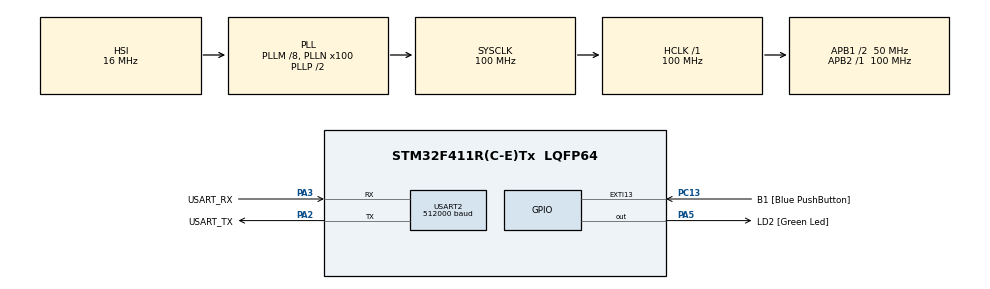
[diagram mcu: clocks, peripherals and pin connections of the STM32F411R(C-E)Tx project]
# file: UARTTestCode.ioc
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Dma.Request0=USART2_RX
Dma.USART2_RX.0.Direction=DMA_PERIPH_TO_MEMORY
Dma.USART2_RX.0.FIFOMode=DMA_FIFOMODE_DISABLE
Dma.USART2_RX.0.Instance=DMA1_Stream5
Dma.USART2_RX.0.MemDataAlignment=DMA_MDATAALIGN_BYTE
Dma.USART2_RX.0.MemInc=DMA_MINC_ENABLE
Dma.USART2_RX.0.Mode=DMA_CIRCULAR
Dma.USART2_RX.0.PeriphDataAlignment=DMA_PDATAALIGN_BYTE
Dma.USART2_RX.0.PeriphInc=DMA_PINC_DISABLE
Dma.USART2_RX.0.Priority=DMA_PRIORITY_LOW
Mcu.Family=STM32F4
Mcu.Name=STM32F411R(C-E)Tx
Mcu.Package=LQFP64
NVIC.DMA1_Stream5_IRQn=true\:0\:0\:false\:false\:true\:false\:true\:true
NVIC.PriorityGroup=NVIC_PRIORITYGROUP_0
NVIC.TIM1_TRG_COM_TIM11_IRQn=true\:0\:0\:false\:false\:true\:true\:true\:true
NVIC.USART2_IRQn=true\:0\:0\:false\:false\:true\:true\:true\:true
PA13.GPIO_Label=TMS
PA13.Mode=Serial_Wire
PA13.Signal=SYS_JTMS-SWDIO
PA14.GPIO_Label=TCK
PA14.Mode=Serial_Wire
PA14.Signal=SYS_JTCK-SWCLK
PA2.GPIO_Label=USART_TX
PA2.Mode=Asynchronous
PA2.Signal=USART2_TX
PA3.GPIO_Label=USART_RX
PA3.Mode=Asynchronous
PA3.Signal=USART2_RX
PA5.GPIO_Label=LD2 [Green Led]
PA5.Signal=GPIO_Output
PB3.GPIO_Label=SWO
PB3.Signal=SYS_JTDO-SWO
PC13-ANTI_TAMP.GPIO_Label=B1 [Blue PushButton]
PC13-ANTI_TAMP.GPIO_ModeDefaultEXTI=GPIO_MODE_IT_FALLING
PC13-ANTI_TAMP.Signal=GPXTI13
PC14-OSC32_IN.Mode=LSE-External-Oscillator
PC14-OSC32_IN.Signal=RCC_OSC32_IN
PC15-OSC32_OUT.Mode=LSE-External-Oscillator
PC15-OSC32_OUT.Signal=RCC_OSC32_OUT
PH0\ -\ OSC_IN.Mode=HSE-External-Clock-Source
PH0\ -\ OSC_IN.Signal=RCC_OSC_IN
PH1\ -\ OSC_OUT.Mode=HSE-External-Clock-Source
PH1\ -\ OSC_OUT.Signal=RCC_OSC_OUT
ProjectManager.HeapSize=0x200
ProjectManager.StackSize=0x400
ProjectManager.TargetToolchain=STM32CubeIDE
RCC.48MHZClocksFreq_Value=50000000
RCC.AHBFreq_Value=100000000
RCC.APB1CLKDivider=RCC_HCLK_DIV2
RCC.APB1Freq_Value=50000000
RCC.APB1TimFreq_Value=100000000
RCC.APB2Freq_Value=100000000
RCC.APB2TimFreq_Value=100000000
RCC.CortexFreq_Value=100000000
RCC.FLatency-AdvancedSettings=FLASH_LATENCY_3
RCC.HCLKFreq_Value=100000000
RCC.HSE_VALUE=8000000
RCC.HSI_VALUE=16000000
RCC.PLLM=8
RCC.PLLN=100
RCC.SYSCLKFreq_VALUE=100000000
RCC.SYSCLKSource=RCC_SYSCLKSOURCE_PLLCLK
RCC.VCOOutputFreq_Value=200000000
TIM11.Prescaler=99
USART2.BaudRate=512000
USART2.Parity=PARITY_EVEN
USART2.VirtualMode=VM_ASYNC
USART2.WordLength=WORDLENGTH_9B
VP_TIM11_VS_ClockSourceINT.Mode=Enable_Timer
board=NUCLEO-F411RE

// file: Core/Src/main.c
/* USER CODE BEGIN Header */
/**
  ******************************************************************************
  * @file           : main.c
  * @brief          : Main program body
  ******************************************************************************
  * @attention
  *
  * Copyright (c) 2022 STMicroelectronics.
  * All rights reserved.
  *
  * This software is licensed under terms that can be found in the LICENSE file
  * in the root directory of this software component.
  * If no LICENSE file comes with this software, it is provided AS-IS.
  *
  ******************************************************************************
  */
/* USER CODE END Header */
#include "main.h"

/* USER CODE BEGIN Includes */
#include <stdio.h>
#include <string.h>
/* USER CODE END Includes */

 TIM_HandleTypeDef htim11;

UART_HandleTypeDef huart2;
DMA_HandleTypeDef hdma_usart2_rx;

/* USER CODE BEGIN PV */
 enum{normOperation, emergency} beegState = normOperation;
// enum{INIT, waitCMDs, setVelo, setPos, set1Goal, setMultiGoal, mcuConnections, testCMD, setHome, reqStation, reqPos, reqMAXVelo} cmdState = INIT;
 enum{INIT, waitCMDs} cmdState = INIT;
 enum{mcuC, mcuDC} mcuConnex = mcuC;

 char TxDataBuffer[32] = {0};
 uint8_t RxDataBuffer[32] = {0};
 uint8_t checkSum = 0;
 uint8_t rxDataStart = 0;
 uint8_t rxDataCount = 0;
 uint8_t ACK_1[2] = { 0x58, 0b01110101 };
 uint8_t ACK_2[2] = { 70, 0b01101110 };
 uint8_t sendData[6] = {0};

 //for sending data to base sys
 uint8_t goalData = 0;
 uint16_t posData = 0; //(max 16000)
 uint16_t veloData = 0; //(max 16000)
 // -------

 uint8_t uartVelo;
 uint16_t uartPos;
 uint8_t uartGoal[15];
 uint8_t goalAmount = 0;
 uint8_t goalIDX = 0;
 uint8_t runningFlag = 0;
 uint8_t homingFlag = 0;
 uint8_t modeNo = 0;

 uint64_t _micro = 0;
 uint64_t timeElapsed = 0;
/* USER CODE END PV */

void SystemClock_Config(void);
static void MX_GPIO_Init(void);
static void MX_USART2_UART_Init(void);
static void MX_DMA_Init(void);
static void MX_TIM11_Init(void);
/* USER CODE BEGIN PFP */
//void checkSum();
void stateManagement();
uint8_t UARTReceiveIT();
uint64_t micros();
/* USER CODE END PFP */

int main(void)
{

  /* MCU Configuration--------------------------------------------------------*/

  /* Reset of all peripherals, Initializes the Flash interface and the Systick. */
  HAL_Init();

  /* Configure the system clock */
  SystemClock_Config();

  /* Initialize all configured peripherals */
  MX_GPIO_Init();
  MX_USART2_UART_Init();
  MX_DMA_Init();
  MX_TIM11_Init();
  /* USER CODE BEGIN 2 */
  HAL_TIM_Base_Start_IT(&htim11);
  /* USER CODE END 2 */

  /* Infinite loop */
  /* USER CODE BEGIN WHILE */
  while (1)
  {
	  HAL_UART_Receive_IT(&huart2, RxDataBuffer, 32);
	  stateManagement();

	  if(micros() - timeElapsed > 15000000){
		  timeElapsed = micros();
		  if(runningFlag == 1 || homingFlag == 1){
			  runningFlag = 0;
			  homingFlag = 0;
		  }
	  }

//	  HAL_UART_Receive_IT(&huart2, &testUART, 1);
//	  static GPIO_PinState B1State[2] = {0};
//	  B1State[0] = HAL_GPIO_ReadPin(GPIOC, GPIO_PIN_13);
//	  if(B1State[1] == GPIO_PIN_SET && B1State[0] == GPIO_PIN_RESET){ //falling edge detect
//		  static uint8_t testDig = 147;
//		  HAL_GPIO_TogglePin(GPIOA, GPIO_PIN_5);
//		  sprintf(TxDataBuffer, "Xu");
//		  HAL_UART_Transmit(&huart2, (uint8_t*)TxDataBuffer, strlen(TxDataBuffer), 1000);
//	  }
//	  B1State[1] = B1State[0];

//	  HAL_Delay(200);
//
//	  sprintf(TxDataBuffer, "Got: [%c]\r\n", RxDataBuffer);
//	  HAL_UART_Transmit(&huart2, (uint16_t*)TxDataBuffer, strlen(TxDataBuffer), 1000);

    /* USER CODE END WHILE */

  }
}

void SystemClock_Config(void)
{
  RCC_OscInitTypeDef RCC_OscInitStruct = {0};
  RCC_ClkInitTypeDef RCC_ClkInitStruct = {0};

  /** Configure the main internal regulator output voltage
  */
  __HAL_RCC_PWR_CLK_ENABLE();
  __HAL_PWR_VOLTAGESCALING_CONFIG(PWR_REGULATOR_VOLTAGE_SCALE1);

  /** Initializes the RCC Oscillators according to the specified parameters
  * in the RCC_OscInitTypeDef structure.
  */
  RCC_OscInitStruct.OscillatorType = RCC_OSCILLATORTYPE_HSI;
  RCC_OscInitStruct.HSIState = RCC_HSI_ON;
  RCC_OscInitStruct.HSICalibrationValue = RCC_HSICALIBRATION_DEFAULT;
  RCC_OscInitStruct.PLL.PLLState = RCC_PLL_ON;
  RCC_OscInitStruct.PLL.PLLSource = RCC_PLLSOURCE_HSI;
  RCC_OscInitStruct.PLL.PLLM = 8;
  RCC_OscInitStruct.PLL.PLLN = 100;
  RCC_OscInitStruct.PLL.PLLP = RCC_PLLP_DIV2;
  RCC_OscInitStruct.PLL.PLLQ = 4;
  if (HAL_RCC_OscConfig(&RCC_OscInitStruct) != HAL_OK)
  {
    Error_Handler();
  }

  /** Initializes the CPU, AHB and APB buses clocks
  */
  RCC_ClkInitStruct.ClockType = RCC_CLOCKTYPE_HCLK|RCC_CLOCKTYPE_SYSCLK
                              |RCC_CLOCKTYPE_PCLK1|RCC_CLOCKTYPE_PCLK2;
  RCC_ClkInitStruct.SYSCLKSource = RCC_SYSCLKSOURCE_PLLCLK;
  RCC_ClkInitStruct.AHBCLKDivider = RCC_SYSCLK_DIV1;
  RCC_ClkInitStruct.APB1CLKDivider = RCC_HCLK_DIV2;
  RCC_ClkInitStruct.APB2CLKDivider = RCC_HCLK_DIV1;

  if (HAL_RCC_ClockConfig(&RCC_ClkInitStruct, FLASH_LATENCY_3) != HAL_OK)
  {
    Error_Handler();
  }
}

static void MX_TIM11_Init(void)
{

  htim11.Instance = TIM11;
  htim11.Init.Prescaler = 99;
  htim11.Init.CounterMode = TIM_COUNTERMODE_UP;
  htim11.Init.Period = 65535;
  htim11.Init.ClockDivision = TIM_CLOCKDIVISION_DIV1;
  htim11.Init.AutoReloadPreload = TIM_AUTORELOAD_PRELOAD_DISABLE;
  if (HAL_TIM_Base_Init(&htim11) != HAL_OK)
  {
    Error_Handler();
  }

}

static void MX_USART2_UART_Init(void)
{

  huart2.Instance = USART2;
  huart2.Init.BaudRate = 512000;
  huart2.Init.WordLength = UART_WORDLENGTH_9B;
  huart2.Init.StopBits = UART_STOPBITS_1;
  huart2.Init.Parity = UART_PARITY_EVEN;
  huart2.Init.Mode = UART_MODE_TX_RX;
  huart2.Init.HwFlowCtl = UART_HWCONTROL_NONE;
  huart2.Init.OverSampling = UART_OVERSAMPLING_16;
  if (HAL_UART_Init(&huart2) != HAL_OK)
  {
    Error_Handler();
  }

}

static void MX_DMA_Init(void)
{

  /* DMA controller clock enable */
  __HAL_RCC_DMA1_CLK_ENABLE();

  /* DMA interrupt init */
  /* DMA1_Stream5_IRQn interrupt configuration */
  HAL_NVIC_SetPriority(DMA1_Stream5_IRQn, 0, 0);
  HAL_NVIC_EnableIRQ(DMA1_Stream5_IRQn);

}

static void MX_GPIO_Init(void)
{
  GPIO_InitTypeDef GPIO_InitStruct = {0};

  /* GPIO Ports Clock Enable */
  __HAL_RCC_GPIOC_CLK_ENABLE();
  __HAL_RCC_GPIOH_CLK_ENABLE();
  __HAL_RCC_GPIOA_CLK_ENABLE();
  __HAL_RCC_GPIOB_CLK_ENABLE();

  /*Configure GPIO pin Output Level */
  HAL_GPIO_WritePin(LD2_GPIO_Port, LD2_Pin, GPIO_PIN_RESET);

  /*Configure GPIO pin : B1_Pin */
  GPIO_InitStruct.Pin = B1_Pin;
  GPIO_InitStruct.Mode = GPIO_MODE_IT_FALLING;
  GPIO_InitStruct.Pull = GPIO_NOPULL;
  HAL_GPIO_Init(B1_GPIO_Port, &GPIO_InitStruct);

  /*Configure GPIO pin : LD2_Pin */
  GPIO_InitStruct.Pin = LD2_Pin;
  GPIO_InitStruct.Mode = GPIO_MODE_OUTPUT_PP;
  GPIO_InitStruct.Pull = GPIO_NOPULL;
  GPIO_InitStruct.Speed = GPIO_SPEED_FREQ_LOW;
  HAL_GPIO_Init(LD2_GPIO_Port, &GPIO_InitStruct);

}

/* USER CODE BEGIN 4 */
//void checkSum(){
//	for(int i = 0; i < strlen(uartRxData); i++){
//		checkSum += uartRxData[i];
//	}
//}
//
//void HAL_UART_RxCpltCallback(UART_HandleTypeDef *huart){
//	if (huart->Instance == USART2)
//	  {
//	    /* Transmit one byte with 100 ms timeout */
////	    HAL_UART_Transmit(&huart2, &testUART, 1, 100);
//
//	    /* Receive one byte in interrupt mode */
//	    HAL_UART_Receive_IT(&huart2, &RxDataBuffer, 1);
//	  }
//}

void stateManagement(){
//	static uint8_t rxDataStart = 0;
//	static uint8_t rxDataCount = 0;
//	static uint8_t cmdStorageShift = 0;
//	static uint8_t checkSum = 0;
	switch(beegState){
		case normOperation:
			if(HAL_GPIO_ReadPin(GPIOB, GPIO_PIN_3) == GPIO_PIN_SET){
			switch(cmdState){
				case INIT:
					// reset pwm
					cmdState = waitCMDs;
					break;
				case waitCMDs:
					if(huart2.RxXferSize - huart2.RxXferCount != rxDataCount){
						if((uint8_t)RxDataBuffer[rxDataCount] == (uint8_t)(~checkSum)){
							checkSum = 0;
							switch(RxDataBuffer[rxDataStart]){
							case 0b10010001:
								modeNo = 1;
								break;
							case 0b10010010:
								modeNo = 2;
								HAL_UART_Transmit_IT(&huart2, ACK_1, 2);
								break;
							case 0b10010011:
								modeNo = 3;
								HAL_UART_Transmit_IT(&huart2, ACK_1, 2);
								break;
							case 0b10010100:
								modeNo = 4;
								uartVelo = RxDataBuffer[rxDataStart + 2]; // max 255
								HAL_UART_Transmit_IT(&huart2, ACK_1, 2);
								break;
							case 0b10010101:
								modeNo = 5;
								uartPos = (RxDataBuffer[rxDataStart + 1] << 8) | RxDataBuffer[rxDataStart + 2]; // max 65535
								HAL_UART_Transmit_IT(&huart2, ACK_1, 2);
								break;
							case 0b10010110:
								modeNo = 6;
								memset(uartGoal, 0, 15);
								goalAmount = 1;
								uartGoal[0] = RxDataBuffer[rxDataStart + 2];
								HAL_UART_Transmit_IT(&huart2, ACK_1, 2);
								break;
							case 0b10010111:
								modeNo = 7;
								memset(uartGoal, 0, 15);
								goalAmount = RxDataBuffer[rxDataStart + 1];
								for(int i = 0; i < ((goalAmount+1)/2); i++){
									uartGoal[0+(i*2)] = RxDataBuffer[rxDataStart+(2+i)] & 15; // low 8 bit (last 4 bit)
									uartGoal[1+(i*2)] = RxDataBuffer[rxDataStart+(2+i)] >> 4; // high 8 bit (first 4 bit)
								}
								HAL_UART_Transmit_IT(&huart2, ACK_1, 2);
								break;
							case 0b10011000:
								modeNo = 8;
								runningFlag = 1;
								HAL_UART_Transmit_IT(&huart2, ACK_1, 2);
								break;
							case 0b10011001:
								modeNo = 9;
								goalData = 10;
								if(runningFlag == 1){
									memcpy(sendData, ACK_1, 2);
									sendData[2] = 153; // start-mode
									sendData[3] = 0;
									sendData[4] = goalData; // set current goal
									sendData[5] = (~(sendData[2]+sendData[3]+sendData[4]));
								}
								else{
									memcpy(sendData, ACK_2, 2);
									sendData[2] = 153; // start-mode
									sendData[3] = 0;
									sendData[4] = goalData; // set current goal
									sendData[5] = (~(sendData[2]+sendData[3]+sendData[4]));
								}
								HAL_UART_Transmit_IT(&huart2, sendData, 6);
								break;
							case 0b10011010:
								modeNo = 10;
								posData = 10271; // data from zhong
								if(runningFlag == 1){
									memcpy(sendData, ACK_1, 2);
									sendData[2] = 154; // start-mode
									sendData[3] = ((posData*65535)/16000) & 255; // set low byte posData
									sendData[4] = ((posData*65535)/16000) >> 8; // set high byte posData
									sendData[5] = (~(sendData[2]+sendData[3]+sendData[4]));
								}
								else{
									memcpy(sendData, ACK_2, 2);
									sendData[2] = 154; // start-mode
									sendData[3] = ((posData*65535)/16000) & 255; // set low byte posData
									sendData[4] = ((posData*65535)/16000) >> 8; // set high byte posData
									sendData[5] = (~(sendData[2]+sendData[3]+sendData[4]));
								}
								HAL_UART_Transmit_IT(&huart2, sendData, 6);
								break;
							case 0b10011011:
								modeNo = 11;
								veloData = 2496;
								if(runningFlag == 1){
									memcpy(sendData, ACK_1, 2);
									sendData[2] = 155;
									sendData[4] = ((veloData*255)/16000) & 255; // set low byte posData
									sendData[5] = (~(sendData[2]+sendData[3]+sendData[4]));
								}
								else{
									memcpy(sendData, ACK_2, 2);
									sendData[2] = 155;
									sendData[4] = ((veloData*255)/16000) & 255; // set low byte posData
									sendData[5] = (~(sendData[2]+sendData[3]+sendData[4]));
								}
								HAL_UART_Transmit_IT(&huart2, sendData, 6);
								break;
							case 0b10011100:
								modeNo = 12;
								HAL_UART_Transmit_IT(&huart2, ACK_1, 2);
								break;
							case 0b10011101:
								modeNo = 13;
								HAL_UART_Transmit_IT(&huart2, ACK_1, 2);
								break;
							case 0b10011110:
								modeNo = 14;
								homingFlag = 1;
								HAL_UART_Transmit_IT(&huart2, ACK_1, 2);
								break;
							}
							rxDataStart = (rxDataCount + 1) % huart2.RxXferSize;
						}
						else if((uint8_t)RxDataBuffer[rxDataStart] == (uint8_t)ACK_1[0] || (uint8_t)RxDataBuffer[rxDataStart] == (uint8_t)ACK_1[1]){
							checkSum = 0;
							modeNo = 99;
							rxDataStart = (rxDataCount + 1) % huart2.RxXferSize;
						}
						else{
							checkSum = checkSum + RxDataBuffer[rxDataCount];
						}
						rxDataCount = (rxDataCount + 1) % huart2.RxXferSize;
					}
					break;
				  }
			}
			else{
				beegState = emergency;
			}
	          	  break;
	    case emergency:
	    	if(HAL_GPIO_ReadPin(GPIOB, GPIO_PIN_3) == 0){
	    		beegState = normOperation;
	    	}
	    	break;
	    }
}

void HAL_TIM_PeriodElapsedCallback(TIM_HandleTypeDef *htim) {
	if (htim == &htim11) {
		_micro += 65535;
	}
}

uint64_t micros(){
	return _micro + htim11.Instance->CNT;
}

//uint8_t UARTReceiveIT(){
//	static uint32_t dataPos =0;
//	uint8_t data = 0;
//	if(huart2.RxXferSize - huart2.RxXferCount!=dataPos)
//	{
//		data = RxDataBuffer[dataPos];
//		dataPos = (dataPos+1)%huart2.RxXferSize;
//	}
//	return data;
//}
/* USER CODE END 4 */

void Error_Handler(void)
{
  __disable_irq();
  while (1)
  {
  }
}
